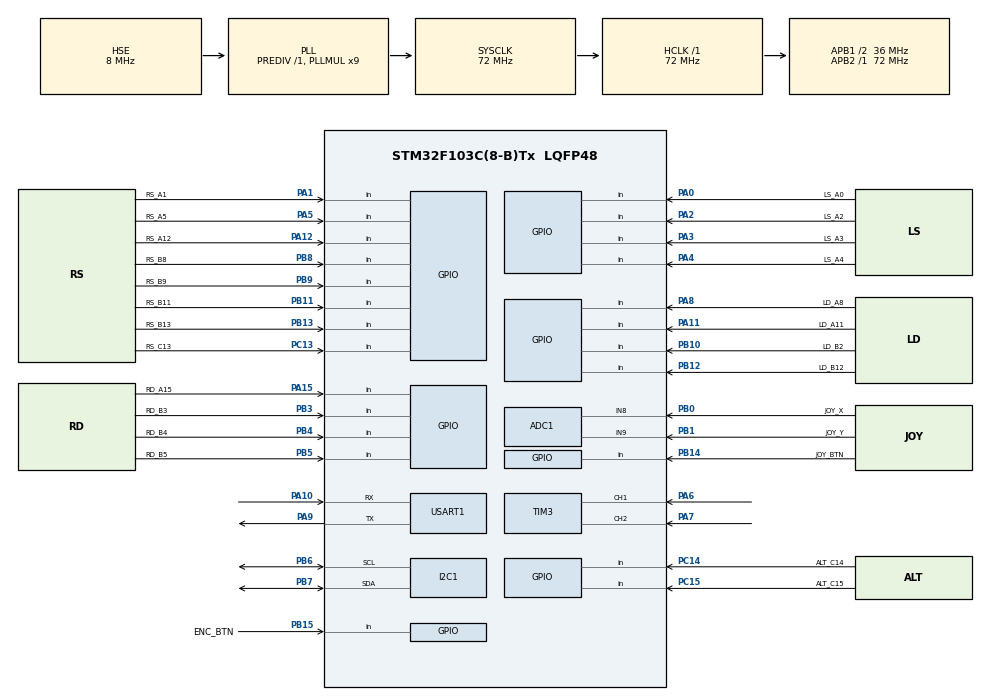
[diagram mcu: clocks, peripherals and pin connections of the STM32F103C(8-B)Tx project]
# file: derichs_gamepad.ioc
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ADC1.Channel-0\#ChannelRegularConversion=ADC_CHANNEL_8
ADC1.Channel-1\#ChannelRegularConversion=ADC_CHANNEL_9
ADC1.ContinuousConvMode=ENABLE
ADC1.NbrOfConversion=2
ADC1.NbrOfConversionFlag=1
ADC1.Rank-0\#ChannelRegularConversion=1
ADC1.Rank-1\#ChannelRegularConversion=2
ADC1.SamplingTime-0\#ChannelRegularConversion=ADC_SAMPLETIME_41CYCLES_5
ADC1.SamplingTime-1\#ChannelRegularConversion=ADC_SAMPLETIME_41CYCLES_5
ADC1.master=1
Dma.ADC1.0.Direction=DMA_PERIPH_TO_MEMORY
Dma.ADC1.0.Instance=DMA1_Channel1
Dma.ADC1.0.MemDataAlignment=DMA_MDATAALIGN_HALFWORD
Dma.ADC1.0.MemInc=DMA_MINC_ENABLE
Dma.ADC1.0.Mode=DMA_CIRCULAR
Dma.ADC1.0.PeriphDataAlignment=DMA_PDATAALIGN_HALFWORD
Dma.ADC1.0.PeriphInc=DMA_PINC_DISABLE
Dma.ADC1.0.Priority=DMA_PRIORITY_LOW
Dma.Request0=ADC1
Mcu.Family=STM32F1
Mcu.Name=STM32F103C(8-B)Tx
Mcu.Package=LQFP48
NVIC.DMA1_Channel1_IRQn=true\:0\:0\:false\:false\:true\:false\:true\:true
NVIC.PriorityGroup=NVIC_PRIORITYGROUP_4
NVIC.TIM2_IRQn=true\:0\:0\:false\:false\:true\:true\:true\:true
NVIC.USART1_IRQn=true\:0\:0\:false\:false\:true\:true\:true\:true
PA0-WKUP.GPIO_Label=LS_A0
PA0-WKUP.GPIO_Mode=GPIO_MODE_INPUT
PA0-WKUP.GPIO_PuPd=GPIO_NOPULL
PA0-WKUP.Signal=GPIO_Input
PA1.GPIO_Label=RS_A1
PA1.GPIO_Mode=GPIO_MODE_INPUT
PA1.GPIO_PuPd=GPIO_NOPULL
PA1.Signal=GPIO_Input
PA10.Mode=Asynchronous
PA10.Signal=USART1_RX
PA11.GPIO_Label=LD_A11
PA11.GPIO_Mode=GPIO_MODE_INPUT
PA11.GPIO_PuPd=GPIO_NOPULL
PA11.Signal=GPIO_Input
PA12.GPIO_Label=RS_A12
PA12.GPIO_Mode=GPIO_MODE_INPUT
PA12.GPIO_PuPd=GPIO_NOPULL
PA12.Signal=GPIO_Input
PA13.Mode=Serial_Wire
PA13.Signal=SYS_JTMS-SWDIO
PA14.Mode=Serial_Wire
PA14.Signal=SYS_JTCK-SWCLK
PA15.GPIO_Label=RD_A15
PA15.GPIO_Mode=GPIO_MODE_INPUT
PA15.GPIO_PuPd=GPIO_NOPULL
PA15.Signal=GPIO_Input
PA2.GPIO_Label=LS_A2
PA2.GPIO_Mode=GPIO_MODE_INPUT
PA2.GPIO_PuPd=GPIO_NOPULL
PA2.Signal=GPIO_Input
PA3.GPIO_Label=LS_A3
PA3.GPIO_Mode=GPIO_MODE_INPUT
PA3.GPIO_PuPd=GPIO_NOPULL
PA3.Signal=GPIO_Input
PA4.GPIO_Label=LS_A4
PA4.GPIO_Mode=GPIO_MODE_INPUT
PA4.GPIO_PuPd=GPIO_NOPULL
PA4.Signal=GPIO_Input
PA5.GPIO_Label=RS_A5
PA5.GPIO_Mode=GPIO_MODE_INPUT
PA5.GPIO_PuPd=GPIO_NOPULL
PA5.Signal=GPIO_Input
PA6.Signal=S_TIM3_CH1
PA7.Signal=S_TIM3_CH2
PA8.GPIO_Label=LD_A8
PA8.GPIO_Mode=GPIO_MODE_INPUT
PA8.GPIO_PuPd=GPIO_NOPULL
PA8.Signal=GPIO_Input
PA9.Mode=Asynchronous
PA9.Signal=USART1_TX
PB0.GPIO_Label=JOY_X
PB0.Signal=ADCx_IN8
PB1.GPIO_Label=JOY_Y
PB1.Signal=ADCx_IN9
PB10.GPIO_Label=LD_B2
PB10.GPIO_Mode=GPIO_MODE_INPUT
PB10.GPIO_PuPd=GPIO_NOPULL
PB10.Signal=GPIO_Input
PB11.GPIO_Label=RS_B11
PB11.GPIO_Mode=GPIO_MODE_INPUT
PB11.GPIO_PuPd=GPIO_NOPULL
PB11.Signal=GPIO_Input
PB12.GPIO_Label=LD_B12
PB12.GPIO_Mode=GPIO_MODE_INPUT
PB12.GPIO_PuPd=GPIO_NOPULL
PB12.Signal=GPIO_Input
PB13.GPIO_Label=RS_B13
PB13.GPIO_Mode=GPIO_MODE_INPUT
PB13.GPIO_PuPd=GPIO_NOPULL
PB13.Signal=GPIO_Input
PB14.GPIO_Label=JOY_BTN
PB14.GPIO_Mode=GPIO_MODE_INPUT
PB14.GPIO_PuPd=GPIO_NOPULL
PB14.Signal=GPIO_Input
PB15.GPIO_Label=ENC_BTN
PB15.GPIO_Mode=GPIO_MODE_INPUT
PB15.GPIO_PuPd=GPIO_NOPULL
PB15.Signal=GPIO_Input
PB3.GPIO_Label=RD_B3
PB3.GPIO_Mode=GPIO_MODE_INPUT
PB3.GPIO_PuPd=GPIO_NOPULL
PB3.Signal=GPIO_Input
PB4.GPIO_Label=RD_B4
PB4.GPIO_Mode=GPIO_MODE_INPUT
PB4.GPIO_PuPd=GPIO_NOPULL
PB4.Signal=GPIO_Input
PB5.GPIO_Label=RD_B5
PB5.GPIO_Mode=GPIO_MODE_INPUT
PB5.GPIO_PuPd=GPIO_NOPULL
PB5.Signal=GPIO_Input
PB6.Mode=I2C
PB6.Signal=I2C1_SCL
PB7.Mode=I2C
PB7.Signal=I2C1_SDA
PB8.GPIO_Label=RS_B8
PB8.GPIO_Mode=GPIO_MODE_INPUT
PB8.GPIO_PuPd=GPIO_NOPULL
PB8.Signal=GPIO_Input
PB9.GPIO_Label=RS_B9
PB9.GPIO_Mode=GPIO_MODE_INPUT
PB9.GPIO_PuPd=GPIO_NOPULL
PB9.Signal=GPIO_Input
PC13-TAMPER-RTC.GPIO_Label=RS_C13
PC13-TAMPER-RTC.GPIO_Mode=GPIO_MODE_INPUT
PC13-TAMPER-RTC.GPIO_PuPd=GPIO_NOPULL
PC13-TAMPER-RTC.Signal=GPIO_Input
PC14-OSC32_IN.GPIO_Label=ALT_C14
PC14-OSC32_IN.GPIO_Mode=GPIO_MODE_INPUT
PC14-OSC32_IN.GPIO_PuPd=GPIO_NOPULL
PC14-OSC32_IN.Signal=GPIO_Input
PC15-OSC32_OUT.GPIO_Label=ALT_C15
PC15-OSC32_OUT.GPIO_Mode=GPIO_MODE_INPUT
PC15-OSC32_OUT.GPIO_PuPd=GPIO_NOPULL
PC15-OSC32_OUT.Signal=GPIO_Input
PD0-OSC_IN.Mode=HSE-External-Oscillator
PD0-OSC_IN.Signal=RCC_OSC_IN
PD1-OSC_OUT.Mode=HSE-External-Oscillator
PD1-OSC_OUT.Signal=RCC_OSC_OUT
ProjectManager.HeapSize=0x200
ProjectManager.StackSize=0x400
ProjectManager.TargetToolchain=STM32CubeIDE
RCC.ADCPresc=RCC_ADCPCLK2_DIV6
RCC.AHBFreq_Value=72000000
RCC.APB1CLKDivider=RCC_HCLK_DIV2
RCC.APB1Freq_Value=36000000
RCC.APB1TimFreq_Value=72000000
RCC.APB2Freq_Value=72000000
RCC.APB2TimFreq_Value=72000000
RCC.HCLKFreq_Value=72000000
RCC.PLLMUL=RCC_PLL_MUL9
RCC.PLLSourceVirtual=RCC_PLLSOURCE_HSE
RCC.SYSCLKFreq_VALUE=72000000
RCC.SYSCLKSource=RCC_SYSCLKSOURCE_PLLCLK
RCC.USBFreq_Value=72000000
SH.ADCx_IN8.0=ADC1_IN8,IN8
SH.ADCx_IN9.0=ADC1_IN9,IN9
SH.S_TIM3_CH1.0=TIM3_CH1,Encoder_Interface
SH.S_TIM3_CH2.0=TIM3_CH2,Encoder_Interface
TIM2.AutoReloadPreload=TIM_AUTORELOAD_PRELOAD_ENABLE
TIM2.Period=49999
TIM2.Prescaler=143
TIM3.AutoReloadPreload=TIM_AUTORELOAD_PRELOAD_ENABLE
TIM3.EncoderMode=TIM_ENCODERMODE_TI12
TIM3.IC1Filter=10
TIM3.IC2Filter=10
USART1.VirtualMode=VM_ASYNC
VP_TIM2_VS_ClockSourceINT.Mode=Internal
board=custom

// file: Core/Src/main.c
/* USER CODE BEGIN Header */
/**
 ******************************************************************************
 * @file           : main.c
 * @brief          : Main program body
 ******************************************************************************
 * @attention
 *
 * Copyright (c) 2025 STMicroelectronics.
 * All rights reserved.
 *
 * This software is licensed under terms that can be found in the LICENSE file
 * in the root directory of this software component.
 * If no LICENSE file comes with this software, it is provided AS-IS.
 *
 ******************************************************************************
 */
/* USER CODE END Header */
#include "main.h"

/* USER CODE BEGIN Includes */
#include "u8g2/u8g2.h"
/* USER CODE END Includes */

ADC_HandleTypeDef hadc1;
DMA_HandleTypeDef hdma_adc1;

I2C_HandleTypeDef hi2c1;

TIM_HandleTypeDef htim2;
TIM_HandleTypeDef htim3;

UART_HandleTypeDef huart1;

/* USER CODE BEGIN PV */
#define bitmap_width 64
#define bitmap_height 64
static unsigned char logoTruong[] = { 0x00, 0x00, 0x00, 0x00, 0x00, 0x00, 0x00,
		0x00, 0x00, 0x00, 0x00, 0xfc, 0x3f, 0x00, 0x00, 0x00, 0x00, 0x00, 0xc0,
		0x07, 0xe0, 0x03, 0x00, 0x00, 0x00, 0x00, 0x78, 0x00, 0x00, 0x1e, 0x00,
		0x00, 0x00, 0x00, 0x0e, 0x88, 0x15, 0x73, 0x00, 0x00, 0x00, 0x00, 0x03,
		0xce, 0xd6, 0xc1, 0x00, 0x00, 0x00, 0xc0, 0xe0, 0xc3, 0x5d, 0x01, 0x03,
		0x00, 0x00, 0x60, 0x30, 0xd7, 0x74, 0x19, 0x06, 0x00, 0x00, 0x10, 0x74,
		0x0d, 0xd0, 0x31, 0x0c, 0x00, 0x00, 0x08, 0xec, 0xf0, 0x0f, 0x48, 0x10,
		0x00, 0x00, 0xc4, 0x09, 0x07, 0xe0, 0x68, 0x21, 0x00, 0x00, 0x42, 0xcb,
		0x00, 0x00, 0xa3, 0x4e, 0x00, 0x00, 0x51, 0x32, 0x00, 0x00, 0xcc, 0x8f,
		0x00, 0x80, 0xf0, 0x09, 0x00, 0x00, 0x10, 0x89, 0x01, 0xc0, 0x78, 0xf6,
		0x1f, 0xf8, 0x6f, 0x17, 0x03, 0x40, 0x1c, 0x13, 0x80, 0x01, 0xc8, 0x1c,
		0x02, 0x20, 0xbc, 0x10, 0x00, 0x00, 0x88, 0x75, 0x04, 0x30, 0xd3, 0x10,
		0x80, 0x01, 0x08, 0x5b, 0x0c, 0x10, 0x5e, 0x10, 0x80, 0x01, 0x08, 0xe2,
		0x08, 0x98, 0x23, 0x10, 0x80, 0x03, 0x08, 0xd4, 0x09, 0x88, 0x17, 0x10,
		0xc0, 0x03, 0x08, 0xe8, 0x10, 0x88, 0x11, 0x10, 0xe0, 0x03, 0x08, 0x48,
		0x10, 0x4c, 0x0a, 0x10, 0xe0, 0x07, 0x08, 0x10, 0x32, 0xe4, 0x08, 0x10,
		0xe0, 0x07, 0x18, 0x10, 0x27, 0x24, 0x05, 0x10, 0xf0, 0x0f, 0x18, 0xa0,
		0x24, 0x04, 0x04, 0x10, 0x70, 0x0e, 0x18, 0x20, 0x26, 0x06, 0x04, 0x10,
		0x70, 0x0e, 0x18, 0xa0, 0x67, 0xf2, 0x01, 0x10, 0xf8, 0x1f, 0x18, 0x20,
		0x4e, 0xd2, 0x03, 0x10, 0xf8, 0x1f, 0x18, 0x40, 0x41, 0xf2, 0x02, 0x10,
		0xfc, 0x3f, 0x18, 0x40, 0x43, 0x42, 0x02, 0x10, 0xec, 0x37, 0x18, 0x40,
		0x5e, 0xf2, 0x02, 0x14, 0xee, 0x37, 0x38, 0x40, 0x5f, 0x62, 0x02, 0x14,
		0xfc, 0x3f, 0x38, 0x40, 0x41, 0xf2, 0x02, 0x14, 0xf8, 0x1f, 0x38, 0x40,
		0x4f, 0xc2, 0x02, 0x14, 0xe0, 0x07, 0x38, 0x40, 0x46, 0xb2, 0x03, 0x14,
		0xe0, 0x07, 0x38, 0xc0, 0x47, 0x12, 0x01, 0x14, 0xe0, 0x07, 0x38, 0x20,
		0x40, 0xe6, 0x04, 0x14, 0xe0, 0x07, 0x38, 0x20, 0x60, 0x84, 0x05, 0x14,
		0xe0, 0x07, 0x38, 0xa0, 0x27, 0xe4, 0x05, 0x14, 0xe0, 0x07, 0x38, 0x20,
		0x25, 0x04, 0x89, 0x05, 0x08, 0x10, 0x30, 0x10, 0x23, 0xcc, 0xcb, 0xfc,
		0x37, 0xec, 0x3f, 0xd0, 0x31, 0x88, 0xf3, 0x00, 0x00, 0x00, 0x00, 0xa8,
		0x13, 0x88, 0xf7, 0xf8, 0x7f, 0xfe, 0x1f, 0xe8, 0x10, 0x98, 0xe3, 0x03,
		0xfc, 0x3f, 0x00, 0x34, 0x09, 0x10, 0x4c, 0x3f, 0xe0, 0x07, 0x00, 0xda,
		0x08, 0x30, 0xc7, 0xf8, 0xff, 0xff, 0x01, 0x13, 0x0c, 0x20, 0x82, 0x01,
		0xfe, 0xff, 0x9f, 0xe1, 0x04, 0x40, 0x00, 0x03, 0x00, 0xfc, 0xdf, 0x00,
		0x02, 0xc0, 0x00, 0x06, 0x00, 0xfc, 0x7f, 0x00, 0x03, 0x80, 0x01, 0x08,
		0x00, 0xfe, 0x1f, 0x80, 0x01, 0x00, 0x01, 0x31, 0xc0, 0xff, 0x0f, 0x81,
		0x00, 0x00, 0x82, 0xc1, 0xfc, 0xff, 0x83, 0x41, 0x00, 0x00, 0x84, 0x01,
		0xff, 0xff, 0x80, 0x20, 0x00, 0x00, 0x08, 0x00, 0xf0, 0x0f, 0x00, 0x10,
		0x00, 0x00, 0x30, 0xc0, 0x04, 0x06, 0x01, 0x0c, 0x00, 0x00, 0x60, 0x40,
		0x05, 0xe6, 0x02, 0x06, 0x00, 0x00, 0xc0, 0x60, 0xef, 0xde, 0x02, 0x03,
		0x00, 0x00, 0x00, 0xe3, 0xef, 0xe6, 0xc6, 0x00, 0x00, 0x00, 0x00, 0x0e,
		0xaf, 0x7f, 0x71, 0x00, 0x00, 0x00, 0x00, 0x70, 0xa0, 0x09, 0x0e, 0x00,
		0x00, 0x00, 0x00, 0xc0, 0x07, 0xe0, 0x03, 0x00, 0x00, 0x00, 0x00, 0x00,
		0xfc, 0x3f, 0x00, 0x00, 0x00, 0x00, 0x00, 0x00, 0x00, 0x00, 0x00, 0x00,
		0x00 };

// Structure example to send data
#pragma pack(1) // Disable padding
struct CONTROLLER_READOUT {
	struct {
		uint8_t A2, A3;
		uint8_t B8, B13, A4;
		uint8_t A0;
	} LS; // left shoulder
	struct {
		uint8_t A8, A11, B2, B12;
	} LD; // left dpad

	struct {
		uint8_t C13, A1;
		uint8_t A5, A12, B9;
		uint8_t PB11;
	} RS; // right shoulder
	struct {
		uint8_t B5, B4, A15, B3;
	} RD; // right dpad

	struct {
		uint8_t C15, C14;
	} ALT; // alternate button

	struct {
		uint16_t VALUE[2];
		uint8_t BTN;
	} JOY; // joystick

	struct {
		uint8_t BTN;
		uint8_t VALUE;
	} ENC; // encoder

} controller;
#pragma pack()

struct {
	struct {
		uint32_t A2, A3;
		uint32_t B8, B13, A4;
		uint32_t A0;
	} LS; // left shoulder
	struct {
		uint32_t A8, A11, B2, B12;
	} LD; // left dpad

	struct {
		uint32_t C13, A1;
		uint32_t A5, A12, B9;
		uint32_t PB11;
	} RS; // right shoulder
	struct {
		uint32_t B5, B4, A15, B3;
	} RD; // right dpad

	struct {
		uint32_t C15, C14;
	} ALT; // alternate button

	struct {
		uint32_t BTN;
	} JOY; // joystick

	struct {
		uint32_t BTN;
	} ENC; // encoder

} controller_debounced;
/* USER CODE END PV */

void SystemClock_Config(void);
static void MX_GPIO_Init(void);
static void MX_DMA_Init(void);
static void MX_ADC1_Init(void);
static void MX_TIM2_Init(void);
static void MX_USART1_UART_Init(void);
static void MX_TIM3_Init(void);
static void MX_I2C1_Init(void);
/* USER CODE BEGIN PFP */

uint8_t u8x8_gpio_and_delay(u8x8_t *u8x8, uint8_t msg, uint8_t arg_int,
		void *arg_ptr) {
	switch (msg) {
	case U8X8_MSG_DELAY_MILLI:
		HAL_Delay(arg_int);
		break;
	}
	return 1;
}

uint8_t u8x8_i2c(u8x8_t *u8x8, uint8_t msg, uint8_t arg_int, void *arg_ptr) {
	static uint8_t buffer[32]; /* u8g2/u8x8 will never send more than 32 bytes between START_TRANSFER and END_TRANSFER */
	static uint8_t buf_idx;
	uint8_t *data;

	switch (msg) {
	case U8X8_MSG_BYTE_SEND:
		data = (uint8_t*) arg_ptr;
		while (arg_int > 0) {
			buffer[buf_idx++] = *data;
			data++;
			arg_int--;
		}
		break;
	case U8X8_MSG_BYTE_START_TRANSFER:
		buf_idx = 0;
		break;
	case U8X8_MSG_BYTE_END_TRANSFER:
		HAL_I2C_Master_Transmit(&hi2c1, 0x78, buffer, buf_idx, 1000);
		break;
	default:
		return 0;
	}
	return 1;
}

static u8g2_t u8g2;

const uint32_t buttonDebounceTime = 0; // ms
static uint8_t handleButtonDebounce(uint32_t *prev_time, uint32_t now,
		uint8_t newState, uint8_t currentState) {
	if (newState == currentState)
		return currentState;
	else {
		if (now - *prev_time > buttonDebounceTime) {
			*prev_time = now;
			return newState;
		} else
			return currentState;
	}
}
void HAL_TIM_PeriodElapsedCallback(TIM_HandleTypeDef *htim) {
	if (htim->Instance == TIM2) {
		uint32_t now = HAL_GetTick(); // Current time in ms

		// Left shoulder
		controller.LS.A2 = handleButtonDebounce(&controller_debounced.LS.A0,
				now, HAL_GPIO_ReadPin(GPIOA, GPIO_PIN_0), controller.LS.A0);
		controller.LS.A3 = handleButtonDebounce(&controller_debounced.LS.A3,
				now, HAL_GPIO_ReadPin(GPIOA, GPIO_PIN_3), controller.LS.A3);
		controller.LS.B8 = handleButtonDebounce(&controller_debounced.LS.B8,
				now, HAL_GPIO_ReadPin(GPIOB, GPIO_PIN_8), controller.LS.B8);
		controller.LS.B13 = handleButtonDebounce(&controller_debounced.LS.B13,
				now, HAL_GPIO_ReadPin(GPIOB, GPIO_PIN_13), controller.LS.B13);
		controller.LS.A4 = handleButtonDebounce(&controller_debounced.LS.A4,
				now, HAL_GPIO_ReadPin(GPIOA, GPIO_PIN_4), controller.LS.A4);
		controller.LS.A0 = handleButtonDebounce(&controller_debounced.LS.A2,
				now, HAL_GPIO_ReadPin(GPIOA, GPIO_PIN_2), controller.LS.A2);

		// Left dpad
		controller.LD.A8 = handleButtonDebounce(&controller_debounced.LD.A8,
				now, HAL_GPIO_ReadPin(GPIOA, GPIO_PIN_8), controller.LD.A8);
		controller.LD.A11 = handleButtonDebounce(&controller_debounced.LD.A11,
				now, HAL_GPIO_ReadPin(GPIOA, GPIO_PIN_11), controller.LD.A11);
		controller.LD.B2 = handleButtonDebounce(&controller_debounced.LD.B2,
				now, HAL_GPIO_ReadPin(GPIOB, GPIO_PIN_2), controller.LD.B2);
		controller.LD.B12 = handleButtonDebounce(&controller_debounced.LD.B12,
				now, HAL_GPIO_ReadPin(GPIOB, GPIO_PIN_12), controller.LD.B12);

		// Right shoulder
		controller.RS.C13 = handleButtonDebounce(&controller_debounced.RS.C13,
				now, HAL_GPIO_ReadPin(GPIOC, GPIO_PIN_13), controller.RS.C13);
		controller.RS.A1 = handleButtonDebounce(&controller_debounced.RS.A1,
				now, HAL_GPIO_ReadPin(GPIOA, GPIO_PIN_1), controller.RS.A1);
		controller.RS.A5 = handleButtonDebounce(&controller_debounced.RS.A5,
				now, HAL_GPIO_ReadPin(GPIOA, GPIO_PIN_5), controller.RS.A5);
		controller.RS.A12 = handleButtonDebounce(&controller_debounced.RS.A12,
				now, HAL_GPIO_ReadPin(GPIOA, GPIO_PIN_12), controller.RS.A12);
		controller.RS.B9 = handleButtonDebounce(&controller_debounced.RS.B9,
				now, HAL_GPIO_ReadPin(GPIOB, GPIO_PIN_9), controller.RS.B9);
		controller.RS.PB11 = handleButtonDebounce(&controller_debounced.RS.PB11,
				now, HAL_GPIO_ReadPin(GPIOB, GPIO_PIN_11), controller.RS.PB11);

		// Right dpad
		controller.RD.B5 = handleButtonDebounce(&controller_debounced.RD.B5,
				now, HAL_GPIO_ReadPin(GPIOB, GPIO_PIN_5), controller.RD.B5);
		controller.RD.B4 = handleButtonDebounce(&controller_debounced.RD.B4,
				now, HAL_GPIO_ReadPin(GPIOB, GPIO_PIN_4), controller.RD.B4);
		controller.RD.A15 = handleButtonDebounce(&controller_debounced.RD.A15,
				now, HAL_GPIO_ReadPin(GPIOA, GPIO_PIN_15), controller.RD.A15);
		controller.RD.B3 = handleButtonDebounce(&controller_debounced.RD.B3,
				now, HAL_GPIO_ReadPin(GPIOB, GPIO_PIN_3), controller.RD.B3);

		// Alternate buttons
		controller.ALT.C15 = handleButtonDebounce(&controller_debounced.ALT.C15,
				now, HAL_GPIO_ReadPin(GPIOC, GPIO_PIN_15), controller.ALT.C15);
		controller.ALT.C14 = handleButtonDebounce(&controller_debounced.ALT.C14,
				now, HAL_GPIO_ReadPin(GPIOC, GPIO_PIN_14), controller.ALT.C14);

		// Joystick
		controller.JOY.BTN = handleButtonDebounce(&controller_debounced.JOY.BTN,
				now, HAL_GPIO_ReadPin(GPIOB, GPIO_PIN_14), controller.JOY.BTN);

		// Encoder
		controller.ENC.BTN = handleButtonDebounce(&controller_debounced.ENC.BTN,
				now, HAL_GPIO_ReadPin(GPIOB, GPIO_PIN_15), controller.ENC.BTN);
		controller.ENC.VALUE = ((TIM3->CNT) >> 2);
	}
}

#define RX_BUFFER_SIZE 100

uint8_t rx_byte;                      // Temporary byte buffer
uint8_t rx_line_buffer[RX_BUFFER_SIZE]; // Line buffer
volatile uint16_t rx_index = 0;
volatile uint8_t line_received = 0;

void HAL_UART_RxCpltCallback(UART_HandleTypeDef *huart) {
    if (huart->Instance == USART1) {
        if (rx_byte == '\n' || rx_index >= RX_BUFFER_SIZE - 1) {
            rx_line_buffer[rx_index] = '\0'; // Null-terminate
			u8g2_DrawStr(&u8g2, 80, 25, rx_line_buffer);
			u8g2_SendBuffer(&u8g2); // Transfer the buffer to the display
            rx_index = 0; // Reset for next line
        } else {
            rx_line_buffer[rx_index++] = rx_byte;
        }

        // Continue receiving next byte
        HAL_UART_Receive_IT(&huart1, &rx_byte, 1);
    }
}

/* USER CODE END PFP */

/* USER CODE BEGIN 0 */
const uint8_t START_MARKER[] = { 0x7E }; // '~'
const uint8_t END_MARKER[] = { 0x7F };   // DEL (127)
uint8_t controllerBuffer[sizeof(controller)];
/* USER CODE END 0 */

int main(void)
{

  /* MCU Configuration--------------------------------------------------------*/

  /* Reset of all peripherals, Initializes the Flash interface and the Systick. */
  HAL_Init();

  /* Configure the system clock */
  SystemClock_Config();

  /* Initialize all configured peripherals */
  MX_GPIO_Init();
  MX_DMA_Init();
  MX_ADC1_Init();
  MX_TIM2_Init();
  MX_USART1_UART_Init();
  MX_TIM3_Init();
  MX_I2C1_Init();
  /* USER CODE BEGIN 2 */

	HAL_UART_Receive_IT(&huart1, &rx_byte, 1);
	HAL_TIM_Base_Start_IT(&htim2);
	HAL_ADC_Start_DMA(&hadc1, (uint16_t*)controller.JOY.VALUE, 2);
	HAL_TIM_Encoder_Start(&htim3, TIM_CHANNEL_ALL);
	/* Initialize Display */
	u8g2_Setup_ssd1306_i2c_128x64_noname_f(&u8g2, U8G2_R0, u8x8_i2c,
			u8x8_gpio_and_delay);
	u8g2_InitDisplay(&u8g2);
	u8g2_SetPowerSave(&u8g2, 0);

	u8g2_ClearBuffer(&u8g2); // Clear the buffer before drawing
	u8g2_DrawXBM(&u8g2, 32, 0, 64, 64, logoTruong);
	u8g2_SendBuffer(&u8g2); // Transfer the buffer to the display
	HAL_Delay(2000);
	u8g2_ClearBuffer(&u8g2); // Clear the buffer before drawing
	u8g2_SetFont(&u8g2, u8g2_font_6x10_tr);
	u8g2_DrawStr(&u8g2, 80, 20, "No data!");
	u8g2_DrawStr(&u8g2, 0, 10, "Robot 1");
	u8g2_SendBuffer(&u8g2); // Transfer the buffer to the display
	HAL_Delay(150);

  /* USER CODE END 2 */

  /* Infinite loop */
  /* USER CODE BEGIN WHILE */
	while (1) {
		memcpy(controllerBuffer, &controller, sizeof(controller));
		HAL_UART_Transmit(&huart1, START_MARKER, sizeof(START_MARKER), 1000);
		HAL_UART_Transmit(&huart1, controllerBuffer, sizeof(controllerBuffer),
				1000);
		HAL_Delay(25); // wait for 25ms for next transsmition
    /* USER CODE END WHILE */

	}
}

void SystemClock_Config(void)
{
  RCC_OscInitTypeDef RCC_OscInitStruct = {0};
  RCC_ClkInitTypeDef RCC_ClkInitStruct = {0};
  RCC_PeriphCLKInitTypeDef PeriphClkInit = {0};

  /** Initializes the RCC Oscillators according to the specified parameters
  * in the RCC_OscInitTypeDef structure.
  */
  RCC_OscInitStruct.OscillatorType = RCC_OSCILLATORTYPE_HSE;
  RCC_OscInitStruct.HSEState = RCC_HSE_ON;
  RCC_OscInitStruct.HSEPredivValue = RCC_HSE_PREDIV_DIV1;
  RCC_OscInitStruct.HSIState = RCC_HSI_ON;
  RCC_OscInitStruct.PLL.PLLState = RCC_PLL_ON;
  RCC_OscInitStruct.PLL.PLLSource = RCC_PLLSOURCE_HSE;
  RCC_OscInitStruct.PLL.PLLMUL = RCC_PLL_MUL9;
  if (HAL_RCC_OscConfig(&RCC_OscInitStruct) != HAL_OK)
  {
    Error_Handler();
  }

  /** Initializes the CPU, AHB and APB buses clocks
  */
  RCC_ClkInitStruct.ClockType = RCC_CLOCKTYPE_HCLK|RCC_CLOCKTYPE_SYSCLK
                              |RCC_CLOCKTYPE_PCLK1|RCC_CLOCKTYPE_PCLK2;
  RCC_ClkInitStruct.SYSCLKSource = RCC_SYSCLKSOURCE_PLLCLK;
  RCC_ClkInitStruct.AHBCLKDivider = RCC_SYSCLK_DIV1;
  RCC_ClkInitStruct.APB1CLKDivider = RCC_HCLK_DIV2;
  RCC_ClkInitStruct.APB2CLKDivider = RCC_HCLK_DIV1;

  if (HAL_RCC_ClockConfig(&RCC_ClkInitStruct, FLASH_LATENCY_2) != HAL_OK)
  {
    Error_Handler();
  }
  PeriphClkInit.PeriphClockSelection = RCC_PERIPHCLK_ADC;
  PeriphClkInit.AdcClockSelection = RCC_ADCPCLK2_DIV6;
  if (HAL_RCCEx_PeriphCLKConfig(&PeriphClkInit) != HAL_OK)
  {
    Error_Handler();
  }
}

static void MX_ADC1_Init(void)
{

  ADC_ChannelConfTypeDef sConfig = {0};

  /** Common config
  */
  hadc1.Instance = ADC1;
  hadc1.Init.ScanConvMode = ADC_SCAN_ENABLE;
  hadc1.Init.ContinuousConvMode = ENABLE;
  hadc1.Init.DiscontinuousConvMode = DISABLE;
  hadc1.Init.ExternalTrigConv = ADC_SOFTWARE_START;
  hadc1.Init.DataAlign = ADC_DATAALIGN_RIGHT;
  hadc1.Init.NbrOfConversion = 2;
  if (HAL_ADC_Init(&hadc1) != HAL_OK)
  {
    Error_Handler();
  }

  /** Configure Regular Channel
  */
  sConfig.Channel = ADC_CHANNEL_8;
  sConfig.Rank = ADC_REGULAR_RANK_1;
  sConfig.SamplingTime = ADC_SAMPLETIME_41CYCLES_5;
  if (HAL_ADC_ConfigChannel(&hadc1, &sConfig) != HAL_OK)
  {
    Error_Handler();
  }

  /** Configure Regular Channel
  */
  sConfig.Channel = ADC_CHANNEL_9;
  sConfig.Rank = ADC_REGULAR_RANK_2;
  if (HAL_ADC_ConfigChannel(&hadc1, &sConfig) != HAL_OK)
  {
    Error_Handler();
  }

}

static void MX_I2C1_Init(void)
{

  hi2c1.Instance = I2C1;
  hi2c1.Init.ClockSpeed = 100000;
  hi2c1.Init.DutyCycle = I2C_DUTYCYCLE_2;
  hi2c1.Init.OwnAddress1 = 0;
  hi2c1.Init.AddressingMode = I2C_ADDRESSINGMODE_7BIT;
  hi2c1.Init.DualAddressMode = I2C_DUALADDRESS_DISABLE;
  hi2c1.Init.OwnAddress2 = 0;
  hi2c1.Init.GeneralCallMode = I2C_GENERALCALL_DISABLE;
  hi2c1.Init.NoStretchMode = I2C_NOSTRETCH_DISABLE;
  if (HAL_I2C_Init(&hi2c1) != HAL_OK)
  {
    Error_Handler();
  }

}

static void MX_TIM2_Init(void)
{

  TIM_ClockConfigTypeDef sClockSourceConfig = {0};
  TIM_MasterConfigTypeDef sMasterConfig = {0};

  htim2.Instance = TIM2;
  htim2.Init.Prescaler = 143;
  htim2.Init.CounterMode = TIM_COUNTERMODE_UP;
  htim2.Init.Period = 49999;
  htim2.Init.ClockDivision = TIM_CLOCKDIVISION_DIV1;
  htim2.Init.AutoReloadPreload = TIM_AUTORELOAD_PRELOAD_ENABLE;
  if (HAL_TIM_Base_Init(&htim2) != HAL_OK)
  {
    Error_Handler();
  }
  sClockSourceConfig.ClockSource = TIM_CLOCKSOURCE_INTERNAL;
  if (HAL_TIM_ConfigClockSource(&htim2, &sClockSourceConfig) != HAL_OK)
  {
    Error_Handler();
  }
  sMasterConfig.MasterOutputTrigger = TIM_TRGO_RESET;
  sMasterConfig.MasterSlaveMode = TIM_MASTERSLAVEMODE_DISABLE;
  if (HAL_TIMEx_MasterConfigSynchronization(&htim2, &sMasterConfig) != HAL_OK)
  {
    Error_Handler();
  }

}

static void MX_TIM3_Init(void)
{

  TIM_Encoder_InitTypeDef sConfig = {0};
  TIM_MasterConfigTypeDef sMasterConfig = {0};

  htim3.Instance = TIM3;
  htim3.Init.Prescaler = 0;
  htim3.Init.CounterMode = TIM_COUNTERMODE_UP;
  htim3.Init.Period = 65535;
  htim3.Init.ClockDivision = TIM_CLOCKDIVISION_DIV1;
  htim3.Init.AutoReloadPreload = TIM_AUTORELOAD_PRELOAD_ENABLE;
  sConfig.EncoderMode = TIM_ENCODERMODE_TI12;
  sConfig.IC1Polarity = TIM_ICPOLARITY_RISING;
  sConfig.IC1Selection = TIM_ICSELECTION_DIRECTTI;
  sConfig.IC1Prescaler = TIM_ICPSC_DIV1;
  sConfig.IC1Filter = 10;
  sConfig.IC2Polarity = TIM_ICPOLARITY_RISING;
  sConfig.IC2Selection = TIM_ICSELECTION_DIRECTTI;
  sConfig.IC2Prescaler = TIM_ICPSC_DIV1;
  sConfig.IC2Filter = 10;
  if (HAL_TIM_Encoder_Init(&htim3, &sConfig) != HAL_OK)
  {
    Error_Handler();
  }
  sMasterConfig.MasterOutputTrigger = TIM_TRGO_RESET;
  sMasterConfig.MasterSlaveMode = TIM_MASTERSLAVEMODE_DISABLE;
  if (HAL_TIMEx_MasterConfigSynchronization(&htim3, &sMasterConfig) != HAL_OK)
  {
    Error_Handler();
  }

}

static void MX_USART1_UART_Init(void)
{

  huart1.Instance = USART1;
  huart1.Init.BaudRate = 115200;
  huart1.Init.WordLength = UART_WORDLENGTH_8B;
  huart1.Init.StopBits = UART_STOPBITS_1;
  huart1.Init.Parity = UART_PARITY_NONE;
  huart1.Init.Mode = UART_MODE_TX_RX;
  huart1.Init.HwFlowCtl = UART_HWCONTROL_NONE;
  huart1.Init.OverSampling = UART_OVERSAMPLING_16;
  if (HAL_UART_Init(&huart1) != HAL_OK)
  {
    Error_Handler();
  }

}

static void MX_DMA_Init(void)
{

  /* DMA controller clock enable */
  __HAL_RCC_DMA1_CLK_ENABLE();

  /* DMA interrupt init */
  /* DMA1_Channel1_IRQn interrupt configuration */
  HAL_NVIC_SetPriority(DMA1_Channel1_IRQn, 0, 0);
  HAL_NVIC_EnableIRQ(DMA1_Channel1_IRQn);

}

static void MX_GPIO_Init(void)
{
  GPIO_InitTypeDef GPIO_InitStruct = {0};

  /* GPIO Ports Clock Enable */
  __HAL_RCC_GPIOC_CLK_ENABLE();
  __HAL_RCC_GPIOD_CLK_ENABLE();
  __HAL_RCC_GPIOA_CLK_ENABLE();
  __HAL_RCC_GPIOB_CLK_ENABLE();

  /*Configure GPIO pins : RS_C13_Pin ALT_C14_Pin ALT_C15_Pin */
  GPIO_InitStruct.Pin = RS_C13_Pin|ALT_C14_Pin|ALT_C15_Pin;
  GPIO_InitStruct.Mode = GPIO_MODE_INPUT;
  GPIO_InitStruct.Pull = GPIO_NOPULL;
  HAL_GPIO_Init(GPIOC, &GPIO_InitStruct);

  /*Configure GPIO pins : LS_A0_Pin RS_A1_Pin LS_A2_Pin LS_A3_Pin
                           LS_A4_Pin RS_A5_Pin LD_A8_Pin LD_A11_Pin
                           RS_A12_Pin RD_A15_Pin */
  GPIO_InitStruct.Pin = LS_A0_Pin|RS_A1_Pin|LS_A2_Pin|LS_A3_Pin
                          |LS_A4_Pin|RS_A5_Pin|LD_A8_Pin|LD_A11_Pin
                          |RS_A12_Pin|RD_A15_Pin;
  GPIO_InitStruct.Mode = GPIO_MODE_INPUT;
  GPIO_InitStruct.Pull = GPIO_NOPULL;
  HAL_GPIO_Init(GPIOA, &GPIO_InitStruct);

  /*Configure GPIO pins : LD_B2_Pin RS_B11_Pin LD_B12_Pin RS_B13_Pin
                           JOY_BTN_Pin ENC_BTN_Pin RD_B3_Pin RD_B4_Pin
                           RD_B5_Pin RS_B8_Pin RS_B9_Pin */
  GPIO_InitStruct.Pin = LD_B2_Pin|RS_B11_Pin|LD_B12_Pin|RS_B13_Pin
                          |JOY_BTN_Pin|ENC_BTN_Pin|RD_B3_Pin|RD_B4_Pin
                          |RD_B5_Pin|RS_B8_Pin|RS_B9_Pin;
  GPIO_InitStruct.Mode = GPIO_MODE_INPUT;
  GPIO_InitStruct.Pull = GPIO_NOPULL;
  HAL_GPIO_Init(GPIOB, &GPIO_InitStruct);

}

void Error_Handler(void)
{
	__disable_irq();
	while (1) {
	}
}
